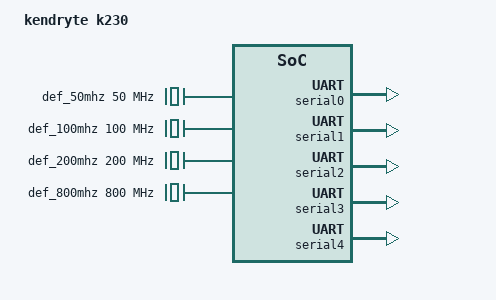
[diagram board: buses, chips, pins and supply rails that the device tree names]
/* Copyright (c) 2023, Canaan Bright Sight Co., Ltd
 *
 * Redistribution and use in source and binary forms, with or without
 * modification, are permitted provided that the following conditions are met:
 * 1. Redistributions of source code must retain the above copyright
 * notice, this list of conditions and the following disclaimer.
 * 2. Redistributions in binary form must reproduce the above copyright
 * notice, this list of conditions and the following disclaimer in the
 * documentation and/or other materials provided with the distribution.
 *
 * THIS SOFTWARE IS PROVIDED BY THE COPYRIGHT HOLDERS AND
 * CONTRIBUTORS "AS IS" AND ANY EXPRESS OR IMPLIED WARRANTIES,
 * INCLUDING, BUT NOT LIMITED TO, THE IMPLIED WARRANTIES OF
 * MERCHANTABILITY AND FITNESS FOR A PARTICULAR PURPOSE ARE
 * DISCLAIMED. IN NO EVENT SHALL THE COPYRIGHT HOLDER OR
 * CONTRIBUTORS BE LIABLE FOR ANY DIRECT, INDIRECT, INCIDENTAL,
 * SPECIAL, EXEMPLARY, OR CONSEQUENTIAL DAMAGES (INCLUDING,
 * BUT NOT LIMITED TO, PROCUREMENT OF SUBSTITUTE GOODS OR
 * SERVICES; LOSS OF USE, DATA, OR PROFITS; OR BUSINESS
 * INTERRUPTION) HOWEVER CAUSED AND ON ANY THEORY OF LIABILITY,
 * WHETHER IN CONTRACT, STRICT LIABILITY, OR TORT (INCLUDING
 * NEGLIGENCE OR OTHERWISE) ARISING IN ANY WAY OUT OF THE USE
 * OF THIS SOFTWARE, EVEN IF ADVISED OF THE POSSIBILITY OF SUCH DAMAGE.
 */
/dts-v1/;
#include <dt-bindings/pinctrl/k230_evb.h>

/ {
	model = "kendryte k230";
	compatible = "kendryte,k230";
	#address-cells = <2>;
	#size-cells = <2>;

	aliases {
		uart0 = &serial0;
	};

	chosen {
		bootargs = "console=ttyS0,115200n8  debug loglevel=7";
		stdout-path = "uart0:115200n8";
	};

	cpus {
		#address-cells = <1>;
		#size-cells = <0>;
		timebase-frequency = <27000000>;
		u-boot,dm-pre-reloc;
		cpu@0 {
			device_type = "cpu";
			reg = <0>;
			status = "okay";
			compatible = "riscv";
			riscv,isa = "rv64imafdcvsu";
			mmu-type = "riscv,sv39";
			clock-frequency = <800000000>;
			u-boot,dm-pre-reloc;
		};
	};

	soc {
		#address-cells = <2>;
		#size-cells = <2>;
		compatible = "simple-bus";
		ranges;
		u-boot,dm-pre-reloc;

		def_50mhz: default_50mhz {
			compatible = "fixed-clock";
			clock-frequency = <50000000>;
			clock-output-names = "fix-50mhz";
			#clock-cells = <0>;
			u-boot,dm-pre-reloc;
		};

		def_100mhz: default_100mhz {
			compatible = "fixed-clock";
			clock-frequency = <100000000>;
			clock-output-names = "fix-100mhz";
			#clock-cells = <0>;
			u-boot,dm-pre-reloc;
		};

		def_200mhz: default_200mhz {
			compatible = "fixed-clock";
			clock-frequency = <200000000>;
			clock-output-names = "fix-200mhz";
			#clock-cells = <0>;
			u-boot,dm-pre-reloc;
		};

		def_800mhz: default_800mhz {
			compatible = "fixed-clock";
			clock-frequency = <800000000>;
			clock-output-names = "fix-800mhz";
			#clock-cells = <0>;
			u-boot,dm-pre-reloc;
		};

		serial0: serial@91400000 {
			compatible = "snps,dw-apb-uart";
			reg = <0x0 0x91400000 0x0 0x400>;
			clocks = <&def_50mhz>;
			clock-names = "baudclk";
			reg-shift = <2>;
			reg-io-width = <4>;
			u-boot,dm-pre-reloc;
		};

        serial1: serial@91401000 {
			compatible = "snps,dw-apb-uart";
			reg = <0x0 0x91401000 0x0 0x400>;
			clocks = <&def_50mhz>;
			clock-names = "baudclk";
			reg-shift = <2>;
			reg-io-width = <4>;
			u-boot,dm-pre-reloc;
		};
        
        serial2: serial@91402000 {
			compatible = "snps,dw-apb-uart";
			reg = <0x0 0x91402000 0x0 0x400>;
			clocks = <&def_50mhz>;
			clock-names = "baudclk";
			reg-shift = <2>;
			reg-io-width = <4>;
			u-boot,dm-pre-reloc;
		};
        
        serial3: serial@91403000 {
			compatible = "snps,dw-apb-uart";
			reg = <0x0 0x91403000 0x0 0x400>;
			clocks = <&def_50mhz>;
			clock-names = "baudclk";
			reg-shift = <2>;
			reg-io-width = <4>;
			u-boot,dm-pre-reloc;
		};
        
        serial4: serial@91404000 {
			compatible = "snps,dw-apb-uart";
			reg = <0x0 0x91404000 0x0 0x400>;
			clocks = <&def_50mhz>;
			clock-names = "baudclk";
			reg-shift = <2>;
			reg-io-width = <4>;
			u-boot,dm-pre-reloc;
		};
        
		mmc0: mmc0@91580000 {
			compatible = "snps,dwcmshc-sdhci-k230";
			reg = <0x0 0x91580000 0x0 0x400>;
			bus-width = <8>;
			clocks = <&def_200mhz>;
			max-frequency = <200000000>;
			fifo-mode;
			have-emmc-phy;
			status = "disabled";
			u-boot,dm-pre-reloc;
		};

		mmc1: mmc1@91581000 {
			compatible = "snps,dwcmshc-sdhci";
			reg = <0x0 0x91581000 0x0 0x400>;
			bus-width = <4>;
			clocks = <&def_100mhz>;
			max-frequency = <50000000>;
			fifo-mode;
			status = "disabled";
			u-boot,dm-pre-reloc;
		};

		spi0: spi@91584000 {
			compatible = "snps,dwc-ssi-1.01a";
			reg = <0x0 0x91584000 0x0 0x1000>;
			#address-cells = <1>;
			#size-cells = <0>;
			num-cs = <1>;
			clocks = <&def_800mhz>;
			spi-max-frequency = <100000000>;
			dtr-max-frequency = <100000000>;
			status = "disabled";
			u-boot,dm-pre-reloc;
		};

		spi1: spi@91582000 {
			compatible = "snps,dwc-ssi-1.01a";
			reg = <0x0 0x91582000 0x0 0x1000>;
			#address-cells = <1>;
			#size-cells = <0>;
			num-cs = <5>;
			clocks = <&def_200mhz>;
			spi-max-frequency = <100000000>;
			status = "disabled";
			u-boot,dm-pre-reloc;
		};

		spi2: spi@91583000 {
			compatible = "snps,dwc-ssi-1.01a";
			reg = <0x0 0x91583000 0x0 0x1000>;
			#address-cells = <1>;
			#size-cells = <0>;
			num-cs = <5>;
			clocks = <&def_200mhz>;
			spi-max-frequency = <100000000>;
			status = "disabled";
			u-boot,dm-pre-reloc;
		};

		usbotg0: usb-otg@91500000 {
			compatible = "snps,dwc2";
			reg = <0x0 0x91500000 0x0 0x10000>;
			g-tx-fifo-size = <128 128 128 128 128 128>;
			dr_mode = "otg";
			otg-rev = <0x200>;
#ifndef CONFIG_CMD_DFU
			status = "disabled";
#endif
		};

		usbotg1: usb-otg@91540000 {
			compatible = "snps,dwc2";
			reg = <0x0 0x91540000 0x0 0x10000>;
			g-tx-fifo-size = <128 128 128 128 128 128>;
			dr_mode = "otg";
			otg-rev = <0x200>;
			status = "disabled";
		};

		iomux: iomux@91105000 {
			compatible = "pinctrl-single";
			reg = <0x0 0x91105000 0x0 0x10000>;
			#pinctrl-cells = <1>;
			pinctrl-single,register-width = <32>;
			pinctrl-single,function-mask = <0xffffffff>;
			u-boot,dm-pre-reloc;
		};

		pmu_iomux: pmu_iomux@91000080 {
			compatible = "pinctrl-single";
			reg = <0x0 0x91000080 0x0 0x20>;
			#pinctrl-cells = <1>;
			pinctrl-single,register-width = <32>;
			pinctrl-single,function-mask = <0xffffffff>;
			status = "disabled";
			u-boot,dm-pre-reloc;
            
            pinctrl-names = "default";
            pinctrl-0 = <&pmu_pins>;
            pmu_pins: pmu_pins {
                u-boot,dm-pre-reloc;
                pinctrl-single,pins = <
                (IO64) ( PMU_IOSEL_INT<<SEL | 0<<SL | 1<<IE | 0<<OE | 0<<PU | 1<<PD | 2<<DS | 0<<ST )
                (IO65) ( PMU_IOSEL_INT<<SEL | 0<<SL | 1<<IE | 0<<OE | 0<<PU | 1<<PD | 2<<DS | 0<<ST )
                (IO66) ( PMU_IOSEL_INT<<SEL | 0<<SL | 1<<IE | 0<<OE | 0<<PU | 1<<PD | 2<<DS | 0<<ST )
                (IO67) ( PMU_IOSEL_INT<<SEL | 0<<SL | 1<<IE | 0<<OE | 0<<PU | 1<<PD | 2<<DS | 0<<ST )
                (IO68) ( PMU_IOSEL_INT<<SEL | 0<<SL | 1<<IE | 0<<OE | 0<<PU | 1<<PD | 2<<DS | 0<<ST )
                (IO69) ( PMU_IOSEL_INT<<SEL | 0<<SL | 1<<IE | 0<<OE | 0<<PU | 1<<PD | 2<<DS | 0<<ST )
                (IO70) ( PMU_IOSEL_INT<<SEL | 0<<SL | 0<<IE | 1<<OE | 0<<PU | 0<<PD | 2<<DS | 0<<ST )
                (IO71) ( PMU_IOSEL_INT<<SEL | 0<<SL | 0<<IE | 1<<OE | 0<<PU | 0<<PD | 2<<DS | 0<<ST )
                >;
            };
		};

        pwm0: pwm@9140a000 {
			compatible = "kendryte,pwm";
			reg = <0x0 0x9140a000 0x0 0x40>;
			clocks = <&def_100mhz>;
			status = "disabled";
		};
        
		pwm1: pwm@9140a040 {
			compatible = "kendryte,pwm";
			reg = <0x0 0x9140a040 0x0 0x40>;
			clocks = <&def_100mhz>;
			status = "disabled";
		};
	};
};
